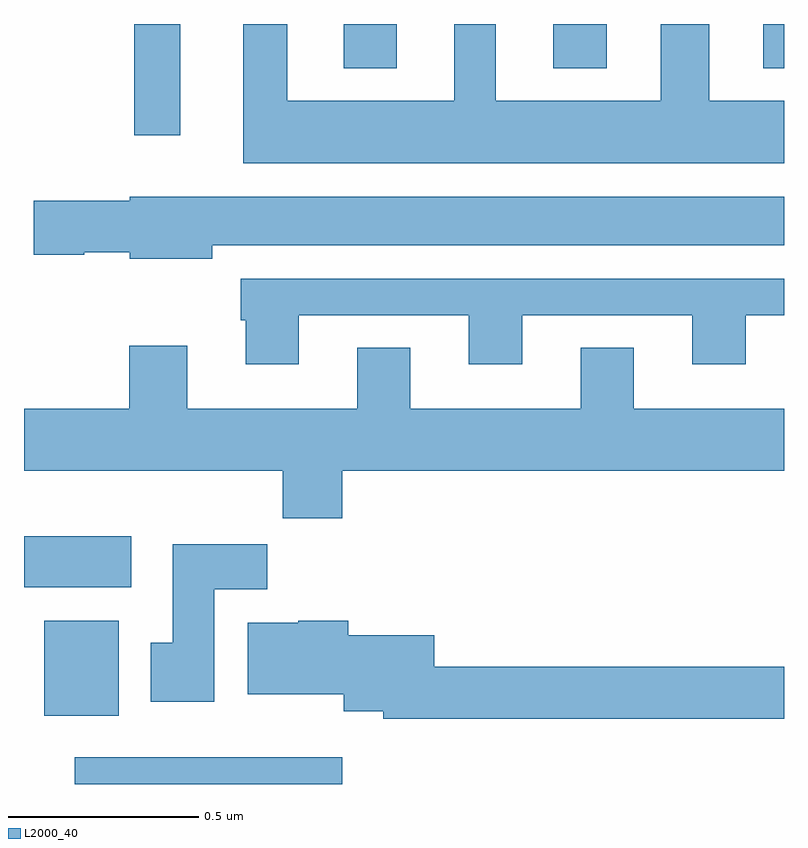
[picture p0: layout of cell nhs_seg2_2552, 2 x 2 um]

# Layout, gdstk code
import gdstk
lib = gdstk.Library(unit=1e-6, precision=1e-09)
def R(c, l, rs):  # rectangles x0, y0, x1, y1
    for r in rs: c.add(gdstk.rectangle(r[:2], r[2:], *l))
def P(c, l, *ps):  # polygons
    for p in ps: c.add(gdstk.Polygon(p, *l))
L2000_40 = (2000, 40)

nhs_seg2_2552 = lib.new_cell('nhs_seg2_2552')
R(nhs_seg2_2552, L2000_40, [(142.133,658.8,142.838,658.87), (142.053,658.98,142.249,659.23), (142,659.318,142.282,659.452), (142.29,660.507,142.411,660.8), (142.841,660.683,142.981,660.8), (143.393,660.683,143.533,660.8), (143.945,660.683,144,660.8)])
P(nhs_seg2_2552, L2000_40, [(144,660.598),(143.803,660.598),(143.803,660.8),(143.675,660.8),(143.675,660.598),(143.242,660.598),(143.242,660.8),(143.132,660.8),(143.132,660.598),(142.693,660.598),(142.693,660.8),(142.577,660.8),(142.577,660.434),(144,660.434)],
  [(142.495,660.218),(144,660.218),(144,660.346),(142.278,660.346),(142.278,660.335),(142.026,660.335),(142.026,660.193),(142.158,660.193),(142.158,660.2),(142.278,660.2),(142.278,660.182),(142.495,660.182)],
  [(142.723,660.033),(143.171,660.033),(143.171,659.904),(143.311,659.904),(143.311,660.033),(143.759,660.033),(143.759,659.904),(143.899,659.904),(143.899,660.033),(144,660.033),(144,660.129),(142.571,660.129),(142.571,660.021),(142.583,660.021),(142.583,659.904),(142.723,659.904)],
  [(142.838,659.624),(144,659.624),(144,659.788),(143.605,659.788),(143.605,659.948),(143.465,659.948),(143.465,659.788),(143.017,659.788),(143.017,659.948),(142.877,659.948),(142.877,659.788),(142.429,659.788),(142.429,659.953),(142.277,659.953),(142.277,659.788),(142,659.788),(142,659.624),(142.681,659.624),(142.681,659.5),(142.838,659.5)],
  [(142.501,659.312),(142.64,659.312),(142.64,659.431),(142.391,659.431),(142.391,659.172),(142.334,659.172),(142.334,659.016),(142.501,659.016)],
  [(144,659.108),(143.08,659.108),(143.08,659.191),(142.853,659.191),(142.853,659.23),(142.722,659.23),(142.722,659.224),(142.589,659.224),(142.589,659.036),(142.841,659.036),(142.841,658.991),(142.945,658.991),(142.945,658.972),(144,658.972)])

lib.write_gds('nhs_seg2_2552.gds')
